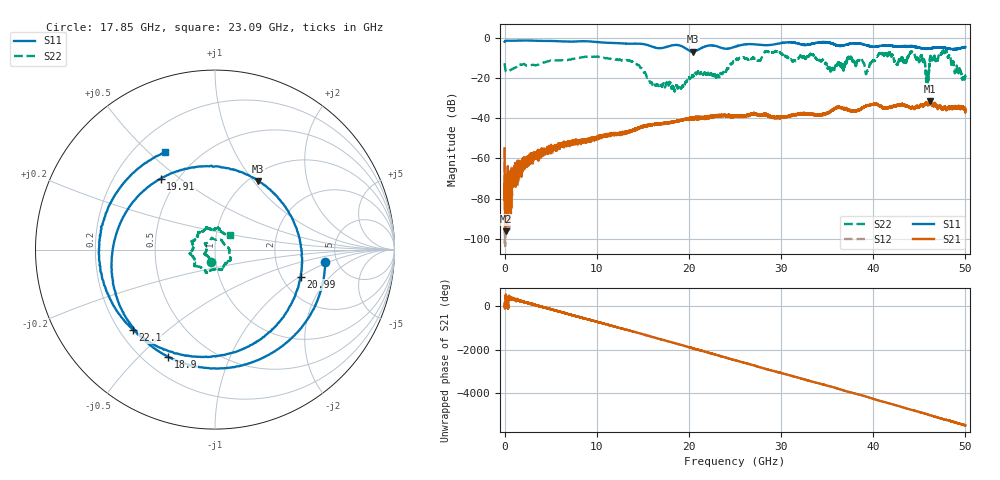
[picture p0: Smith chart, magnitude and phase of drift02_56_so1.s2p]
!Created with skrf (http://scikit-rf.org).
# Hz S RI R 50.0
!freq ReS11 ImS11 ReS21 ImS21 ReS12 ImS12 ReS22 ImS22
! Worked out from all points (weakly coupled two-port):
!   10001 points, 300 kHz to 50 GHz, reference 50 ohm
!   highest |S21| = -31.62 dB at 46.19 GHz (marker M1); lowest = -96.2 dB at 120.3 MHz (marker M2)
!   lowest |S11| = -6.9 dB at 20.41 GHz (marker M3), VSWR 2.64, Z = 55.2 + j52.9 ohm
!   |S11| at or under -10 dB: nowhere
!   |S22| runs from -26.7 to -5.9 dB; largest |S21 - S12| = 0.0033
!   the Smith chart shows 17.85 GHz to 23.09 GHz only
!   S11 on the Smith chart (normalised r, x): 17.85 GHz: 4.00, -0.91; 18.9 GHz: 0.30, -0.61; 19.91 GHz: 0.41, +0.43; 20.99 GHz: 2.53, -1.02; 22.1 GHz: 0.25, -0.38; 23.09 GHz: 0.33, +0.57
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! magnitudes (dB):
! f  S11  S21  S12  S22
! 300 kHz  -2.1  -55.0  -55.8  -12.7
! 120.3 MHz  -1.5  -96.2  -76.6  -16.6
! 255.3 MHz  -1.4  -68.1  -73.1  -17.0
! 8.335 GHz  -1.7  -52.1  -51.2  -9.7
! 13.71 GHz  -2.9  -46.3  -46.1  -11.7
! 16.67 GHz  -5.2  -42.8  -43.1  -23.6
! 17.85 GHz  -4.2  -42.1  -42.5  -22.8
! 18.9 GHz  -3.7  -41.4  -41.3  -23.9
! 19.91 GHz  -6.0  -40.3  -40.2  -19.8
! 20.41 GHz  -6.9  -40.0  -39.7  -19.0
! 20.99 GHz  -6.0  -39.7  -39.8  -16.7
! 22.1 GHz  -3.9  -39.3  -39.6  -17.4
! 23.09 GHz  -4.3  -39.0  -39.0  -18.6
! 25 GHz  -4.5  -39.0  -38.9  -11.6
! 33.34 GHz  -3.0  -37.9  -37.9  -8.4
! 39.33 GHz  -3.8  -33.9  -33.8  -16.6
! 41.67 GHz  -3.9  -34.6  -34.6  -7.7
! 44.26 GHz  -4.1  -34.5  -34.7  -7.4
! 45.87 GHz  -5.5  -33.1  -33.1  -21.4
! 46.19 GHz  -5.3  -31.6  -31.9  -9.9
! 47.74 GHz  -5.1  -34.6  -34.3  -7.2
! 50 GHz  -4.6  -35.8  -35.8  -18.8
